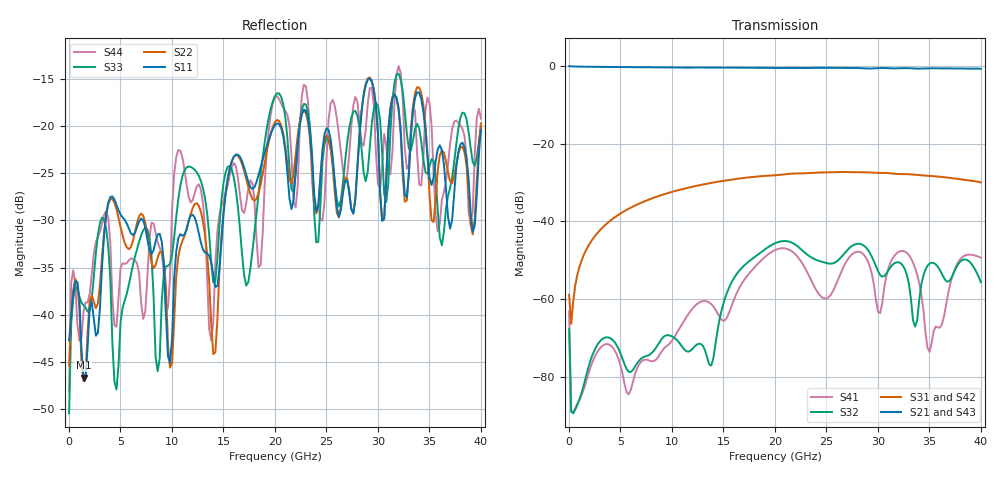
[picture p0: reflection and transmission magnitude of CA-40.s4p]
! MARKI MICROWAVE INC.
! Email:  info@markimicrowave.com  Phone:  408-778-4200
! Model Number:  CA-40  Date:  10/12
! Filename:		CA_40.S4P  Version: 1.0
! Description:  4-port S-parameter data for Directional Coupler CA-40
! Frequency Range: 	10 MHz to 40 GHz
! Port Configuration:	PORT 1: Input, PORT 2: Output Port 3: Coupled and Port 4: Isolated
! S3P File: Measurements: Mag<S11> Ang<S11> Mag<S12> Ang<S12> Mag<S13> Ang<S13> Mag<S14> Ang<S14>! row 1
!  Mag<S21> Ang<S21> Mag<S22> Ang<S22> Mag<S23> Ang<S23> Mag<S24> Ang<S24>! row 2
!  Mag<S31> Ang<S31> Mag<S32> Ang<S32> Mag<S33> Ang<S33> Mag<S34> Ang<S34>! row 3
!  Mag<S41> Ang<S41> Mag<S42> Ang<S42> Mag<S43> Ang<S43> Mag<S44> Ang<S44>! row 4
# GHz S DB R 50
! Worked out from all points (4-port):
!   201 points, 10 MHz to 40 GHz, reference 50 ohm
!   strongest paths, dB at 10 MHz, 10.01 GHz, 20.01 GHz, 30.01 GHz, 40 GHz:
!     S21: 0.0, -0.3, -0.5, -0.5, -0.7
!     S43: 0.0, -0.6, -0.7, -0.6, -0.8
!     S31: -58.9, -32.4, -28.1, -27.5, -29.9
!     S42: -62.3, -32.4, -28.1, -27.5, -29.9
!     S32: -67.7, -69.6, -45.6, -52.8, -55.7
!     S41: -63.1, -70.7, -47.4, -63.3, -49.3
!   lowest |S11| = -46.6 dB at 1.41 GHz (marker M1), VSWR 1.01, Z = 49.6 - j0.237 ohm
!   |S11| at or under -10 dB: start of sweep to end of sweep
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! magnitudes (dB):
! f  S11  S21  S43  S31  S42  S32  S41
! 10 MHz  -42.7  0.0  0.0  -58.9  -62.3  -67.7  -63.1
! 1.41 GHz  -46.6  -0.1  -0.2  -48.8  -48.8  -82.4  -83.3
! 13.81 GHz  -34.4  -0.4  -0.7  -30.1  -30.1  -77.1  -61.3
! 20.41 GHz  -19.8  -0.5  -0.7  -28.0  -28.0  -45.2  -47.0
! 32.81 GHz  -27.5  -0.5  -0.7  -27.8  -27.8  -53.8  -48.1
! 35.01 GHz  -25.4  -0.6  -0.8  -28.3  -28.3  -50.8  -73.6
! 40 GHz  -20.4  -0.7  -0.8  -29.9  -29.9  -55.7  -49.3
